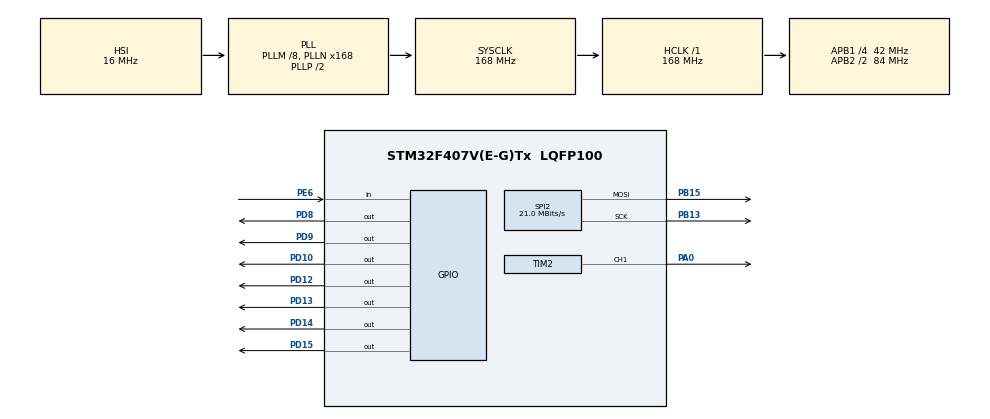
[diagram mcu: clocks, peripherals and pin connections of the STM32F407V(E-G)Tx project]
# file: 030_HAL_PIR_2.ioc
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Dma.Request0=SPI2_TX
Dma.SPI2_TX.0.Direction=DMA_MEMORY_TO_PERIPH
Dma.SPI2_TX.0.FIFOMode=DMA_FIFOMODE_DISABLE
Dma.SPI2_TX.0.Instance=DMA1_Stream4
Dma.SPI2_TX.0.MemDataAlignment=DMA_MDATAALIGN_BYTE
Dma.SPI2_TX.0.MemInc=DMA_MINC_ENABLE
Dma.SPI2_TX.0.Mode=DMA_NORMAL
Dma.SPI2_TX.0.PeriphDataAlignment=DMA_PDATAALIGN_BYTE
Dma.SPI2_TX.0.PeriphInc=DMA_PINC_DISABLE
Dma.SPI2_TX.0.Priority=DMA_PRIORITY_LOW
Mcu.Family=STM32F4
Mcu.Name=STM32F407V(E-G)Tx
Mcu.Package=LQFP100
NVIC.DMA1_Stream4_IRQn=true\:0\:0\:false\:false\:true\:false\:true\:true
NVIC.PriorityGroup=NVIC_PRIORITYGROUP_0
PA0-WKUP.Signal=S_TIM2_CH1_ETR
PB13.Mode=TX_Only_Simplex_Unidirect_Master
PB13.Signal=SPI2_SCK
PB15.Mode=TX_Only_Simplex_Unidirect_Master
PB15.Signal=SPI2_MOSI
PD10.Signal=GPIO_Output
PD12.Signal=GPIO_Output
PD13.Signal=GPIO_Output
PD14.Signal=GPIO_Output
PD15.Signal=GPIO_Output
PD8.Signal=GPIO_Output
PD9.Signal=GPIO_Output
PE6.Signal=GPIO_Input
ProjectManager.HeapSize=0x200
ProjectManager.StackSize=0x400
ProjectManager.TargetToolchain=STM32CubeIDE
RCC.48MHZClocksFreq_Value=48000000
RCC.AHBFreq_Value=168000000
RCC.APB1CLKDivider=RCC_HCLK_DIV4
RCC.APB1Freq_Value=42000000
RCC.APB1TimFreq_Value=84000000
RCC.APB2CLKDivider=RCC_HCLK_DIV2
RCC.APB2Freq_Value=84000000
RCC.APB2TimFreq_Value=168000000
RCC.CortexFreq_Value=168000000
RCC.HCLKFreq_Value=168000000
RCC.HSE_VALUE=8000000
RCC.HSI_VALUE=16000000
RCC.LSE_VALUE=32768
RCC.PLLM=8
RCC.PLLN=168
RCC.PLLQ=7
RCC.SYSCLKFreq_VALUE=168000000
RCC.SYSCLKSource=RCC_SYSCLKSOURCE_PLLCLK
RCC.VCOOutputFreq_Value=336000000
SH.S_TIM2_CH1_ETR.0=TIM2_CH1,PWM Generation1 CH1
SPI2.CalculateBaudRate=21.0 MBits/s
SPI2.Direction=SPI_DIRECTION_2LINES
SPI2.Mode=SPI_MODE_MASTER
SPI2.VirtualType=VM_MASTER
TIM2.Channel-PWM\ Generation1\ CH1=TIM_CHANNEL_1
TIM2.OCFastMode_PWM-PWM\ Generation1\ CH1=TIM_OCFAST_ENABLE
TIM2.Period=19999
TIM2.Prescaler=83
board=STM32F407G-DISC1

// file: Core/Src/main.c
/* USER CODE BEGIN Header */
/**
  ******************************************************************************
  * @file           : main.c
  * @brief          : Main program body
  ******************************************************************************
  * @attention
  *
  * Copyright (c) 2023 STMicroelectronics.
  * All rights reserved.
  *
  * This software is licensed under terms that can be found in the LICENSE file
  * in the root directory of this software component.
  * If no LICENSE file comes with this software, it is provided AS-IS.
  *
  ******************************************************************************
  */
/* USER CODE END Header */
#include "main.h"

/* USER CODE BEGIN Includes */
#include "nokia5110.h"
/* USER CODE END Includes */

SPI_HandleTypeDef hspi2;
DMA_HandleTypeDef hdma_spi2_tx;

TIM_HandleTypeDef htim2;

/* USER CODE BEGIN PV */
uint8_t frameBuff[504];
/* USER CODE END PV */

void SystemClock_Config(void);
static void MX_GPIO_Init(void);
static void MX_DMA_Init(void);
static void MX_SPI2_Init(void);
static void MX_TIM2_Init(void);

int main(void)
{

  /* MCU Configuration--------------------------------------------------------*/

  /* Reset of all peripherals, Initializes the Flash interface and the Systick. */
  HAL_Init();

  /* Configure the system clock */
  SystemClock_Config();

  /* Initialize all configured peripherals */
  MX_GPIO_Init();
  MX_DMA_Init();
  MX_SPI2_Init();
  MX_TIM2_Init();
  /* USER CODE BEGIN 2 */
  HAL_TIM_PWM_Start(&htim2, TIM_CHANNEL_1);
  HAL_GPIO_WritePin(GPIOD, GPIO_PIN_12 | GPIO_PIN_13 | GPIO_PIN_14, GPIO_PIN_RESET);
  HAL_GPIO_WritePin(GPIOD, GPIO_PIN_15, GPIO_PIN_SET);
  nokia5110_Init();
  nokia5110_Clear();
  /* USER CODE END 2 */

  /* Infinite loop */
  while (1)
  {

    /* USER CODE BEGIN 3 */
	  if(HAL_GPIO_ReadPin(GPIOE, GPIO_PIN_6))
	  {
		  HAL_GPIO_WritePin(GPIOD, GPIO_PIN_12 | GPIO_PIN_13 | GPIO_PIN_14, GPIO_PIN_SET);
		  nokia5110_WriteCharacter("HAREKET TESPIT EDILDI");
		  HAL_Delay(1000);
		  nokia5110_Update();
		  __HAL_TIM_SET_COMPARE(&htim2, TIM_CHANNEL_1, 500);
	  		HAL_Delay(1000);
	  		__HAL_TIM_SET_COMPARE(&htim2, TIM_CHANNEL_1, 2500);
	  		HAL_Delay(1000);
	  }
	  else
	  {
		  HAL_GPIO_WritePin(GPIOD, GPIO_PIN_12 | GPIO_PIN_13 | GPIO_PIN_14, GPIO_PIN_RESET);
		  nokia5110_Clear();
		  HAL_Delay(1000);
		  nokia5110_Update();
		  __HAL_TIM_SET_COMPARE(&htim2, TIM_CHANNEL_1, 500);
		  HAL_Delay(100);
	  }
  }
  /* USER CODE END 3 */
}

void SystemClock_Config(void)
{
  RCC_OscInitTypeDef RCC_OscInitStruct = {0};
  RCC_ClkInitTypeDef RCC_ClkInitStruct = {0};

  /** Configure the main internal regulator output voltage
  */
  __HAL_RCC_PWR_CLK_ENABLE();
  __HAL_PWR_VOLTAGESCALING_CONFIG(PWR_REGULATOR_VOLTAGE_SCALE1);

  /** Initializes the RCC Oscillators according to the specified parameters
  * in the RCC_OscInitTypeDef structure.
  */
  RCC_OscInitStruct.OscillatorType = RCC_OSCILLATORTYPE_HSI;
  RCC_OscInitStruct.HSIState = RCC_HSI_ON;
  RCC_OscInitStruct.HSICalibrationValue = RCC_HSICALIBRATION_DEFAULT;
  RCC_OscInitStruct.PLL.PLLState = RCC_PLL_ON;
  RCC_OscInitStruct.PLL.PLLSource = RCC_PLLSOURCE_HSI;
  RCC_OscInitStruct.PLL.PLLM = 8;
  RCC_OscInitStruct.PLL.PLLN = 168;
  RCC_OscInitStruct.PLL.PLLP = RCC_PLLP_DIV2;
  RCC_OscInitStruct.PLL.PLLQ = 7;
  if (HAL_RCC_OscConfig(&RCC_OscInitStruct) != HAL_OK)
  {
    Error_Handler();
  }

  /** Initializes the CPU, AHB and APB buses clocks
  */
  RCC_ClkInitStruct.ClockType = RCC_CLOCKTYPE_HCLK|RCC_CLOCKTYPE_SYSCLK
                              |RCC_CLOCKTYPE_PCLK1|RCC_CLOCKTYPE_PCLK2;
  RCC_ClkInitStruct.SYSCLKSource = RCC_SYSCLKSOURCE_PLLCLK;
  RCC_ClkInitStruct.AHBCLKDivider = RCC_SYSCLK_DIV1;
  RCC_ClkInitStruct.APB1CLKDivider = RCC_HCLK_DIV4;
  RCC_ClkInitStruct.APB2CLKDivider = RCC_HCLK_DIV2;

  if (HAL_RCC_ClockConfig(&RCC_ClkInitStruct, FLASH_LATENCY_5) != HAL_OK)
  {
    Error_Handler();
  }
}

static void MX_SPI2_Init(void)
{

  /* SPI2 parameter configuration*/
  hspi2.Instance = SPI2;
  hspi2.Init.Mode = SPI_MODE_MASTER;
  hspi2.Init.Direction = SPI_DIRECTION_2LINES;
  hspi2.Init.DataSize = SPI_DATASIZE_8BIT;
  hspi2.Init.CLKPolarity = SPI_POLARITY_LOW;
  hspi2.Init.CLKPhase = SPI_PHASE_1EDGE;
  hspi2.Init.NSS = SPI_NSS_SOFT;
  hspi2.Init.BaudRatePrescaler = SPI_BAUDRATEPRESCALER_2;
  hspi2.Init.FirstBit = SPI_FIRSTBIT_MSB;
  hspi2.Init.TIMode = SPI_TIMODE_DISABLE;
  hspi2.Init.CRCCalculation = SPI_CRCCALCULATION_DISABLE;
  hspi2.Init.CRCPolynomial = 10;
  if (HAL_SPI_Init(&hspi2) != HAL_OK)
  {
    Error_Handler();
  }

}

static void MX_TIM2_Init(void)
{

  TIM_MasterConfigTypeDef sMasterConfig = {0};
  TIM_OC_InitTypeDef sConfigOC = {0};

  htim2.Instance = TIM2;
  htim2.Init.Prescaler = 83;
  htim2.Init.CounterMode = TIM_COUNTERMODE_UP;
  htim2.Init.Period = 19999;
  htim2.Init.ClockDivision = TIM_CLOCKDIVISION_DIV1;
  htim2.Init.AutoReloadPreload = TIM_AUTORELOAD_PRELOAD_DISABLE;
  if (HAL_TIM_PWM_Init(&htim2) != HAL_OK)
  {
    Error_Handler();
  }
  sMasterConfig.MasterOutputTrigger = TIM_TRGO_RESET;
  sMasterConfig.MasterSlaveMode = TIM_MASTERSLAVEMODE_DISABLE;
  if (HAL_TIMEx_MasterConfigSynchronization(&htim2, &sMasterConfig) != HAL_OK)
  {
    Error_Handler();
  }
  sConfigOC.OCMode = TIM_OCMODE_PWM1;
  sConfigOC.Pulse = 0;
  sConfigOC.OCPolarity = TIM_OCPOLARITY_HIGH;
  sConfigOC.OCFastMode = TIM_OCFAST_ENABLE;
  if (HAL_TIM_PWM_ConfigChannel(&htim2, &sConfigOC, TIM_CHANNEL_1) != HAL_OK)
  {
    Error_Handler();
  }
  HAL_TIM_MspPostInit(&htim2);

}

static void MX_DMA_Init(void)
{

  /* DMA controller clock enable */
  __HAL_RCC_DMA1_CLK_ENABLE();

  /* DMA interrupt init */
  /* DMA1_Stream4_IRQn interrupt configuration */
  HAL_NVIC_SetPriority(DMA1_Stream4_IRQn, 0, 0);
  HAL_NVIC_EnableIRQ(DMA1_Stream4_IRQn);

}

static void MX_GPIO_Init(void)
{
  GPIO_InitTypeDef GPIO_InitStruct = {0};

  /* GPIO Ports Clock Enable */
  __HAL_RCC_GPIOE_CLK_ENABLE();
  __HAL_RCC_GPIOA_CLK_ENABLE();
  __HAL_RCC_GPIOB_CLK_ENABLE();
  __HAL_RCC_GPIOD_CLK_ENABLE();

  /*Configure GPIO pin Output Level */
  HAL_GPIO_WritePin(GPIOD, GPIO_PIN_8|GPIO_PIN_9|GPIO_PIN_10|GPIO_PIN_12
                          |GPIO_PIN_13|GPIO_PIN_14|GPIO_PIN_15, GPIO_PIN_RESET);

  /*Configure GPIO pin : PE6 */
  GPIO_InitStruct.Pin = GPIO_PIN_6;
  GPIO_InitStruct.Mode = GPIO_MODE_INPUT;
  GPIO_InitStruct.Pull = GPIO_NOPULL;
  HAL_GPIO_Init(GPIOE, &GPIO_InitStruct);

  /*Configure GPIO pins : PD8 PD9 PD10 PD12
                           PD13 PD14 PD15 */
  GPIO_InitStruct.Pin = GPIO_PIN_8|GPIO_PIN_9|GPIO_PIN_10|GPIO_PIN_12
                          |GPIO_PIN_13|GPIO_PIN_14|GPIO_PIN_15;
  GPIO_InitStruct.Mode = GPIO_MODE_OUTPUT_PP;
  GPIO_InitStruct.Pull = GPIO_NOPULL;
  GPIO_InitStruct.Speed = GPIO_SPEED_FREQ_LOW;
  HAL_GPIO_Init(GPIOD, &GPIO_InitStruct);

}

void Error_Handler(void)
{
  __disable_irq();
  while (1)
  {
  }
}
